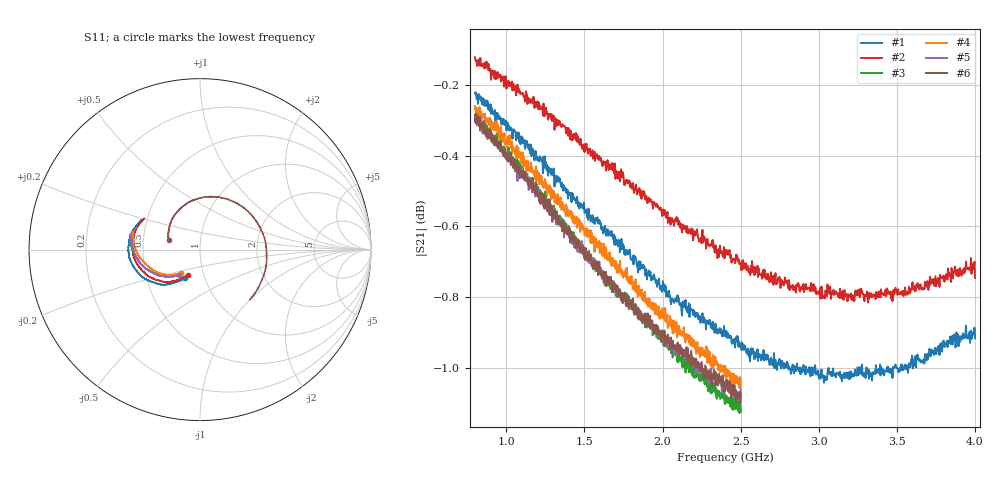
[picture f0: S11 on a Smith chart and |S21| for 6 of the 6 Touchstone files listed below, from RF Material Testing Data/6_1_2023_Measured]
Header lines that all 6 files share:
!Keysight Technologies N9950B: A.12.38
!Timezone: (UTC-06:00) Central Time (US & Canada)
!Model: N9950B
!Serial: MY61131330
!GPS Latitude:
!GPS Longitude:
!GPS TimeStamp: 0001-01-01 00:00:00Z
!GPS Seconds Since Last Read: 0
!Correction: S11(ON U)S21(ON U)S12(ON U)S22(ON U)
!S2P File: Measurements:S11,S21,S12,S22:
# Hz S DB R 50
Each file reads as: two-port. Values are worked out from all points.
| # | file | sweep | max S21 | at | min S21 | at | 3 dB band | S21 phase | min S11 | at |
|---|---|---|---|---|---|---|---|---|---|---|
| 1 | 01.Jun.2023.3.12cm_ntype_15.06mm_gray.s2p | 800 MHz to 4 GHz | -0.22 dB | 803.2 MHz | -1.0 dB | 3.034 GHz | 800 MHz-4 GHz | -71 deg at 2.4 GHz | -14.6 dB | 800 MHz |
| 2 | 01.Jun.2023.3.12cm_ntype_15.6mm_pla.s2p | 800 MHz to 4 GHz | -0.12 dB | 800 MHz | -0.8 dB | 3.315 GHz | 800 MHz-4 GHz | -70 deg at 2.4 GHz | -15.8 dB | 812.8 MHz |
| 3 | 01.Jun.2023.5cm_sma_14.06mm_htemp.s2p | 800 MHz to 2.5 GHz | -0.28 dB | 820.4 MHz | -1.1 dB | 2.491 GHz | 800 MHz-2.5 GHz | -48 deg at 1.65 GHz | -14.6 dB | 805.1 MHz |
| 4 | 01.Jun.2023.5cm_sma_14.71mm_gray.s2p | 800 MHz to 2.5 GHz | -0.26 dB | 800 MHz | -1.1 dB | 2.49 GHz | 800 MHz-2.5 GHz | -50 deg at 1.65 GHz | -15.0 dB | 805.1 MHz |
| 5 | 01.Jun.2023.5cm_sma_14.82mm_gray.s2p | 800 MHz to 2.5 GHz | -0.29 dB | 810.2 MHz | -1.1 dB | 2.498 GHz | 800 MHz-2.5 GHz | -50 deg at 1.65 GHz | -14.4 dB | 801.7 MHz |
| 6 | 01.Jun.2023.5cm_sma_14.82mm_gray_noext.s2p | 800 MHz to 2.5 GHz | -0.28 dB | 805.1 MHz | -1.1 dB | 2.497 GHz | 800 MHz-2.5 GHz | -120 deg at 1.65 GHz | -14.4 dB | 801.7 MHz |
